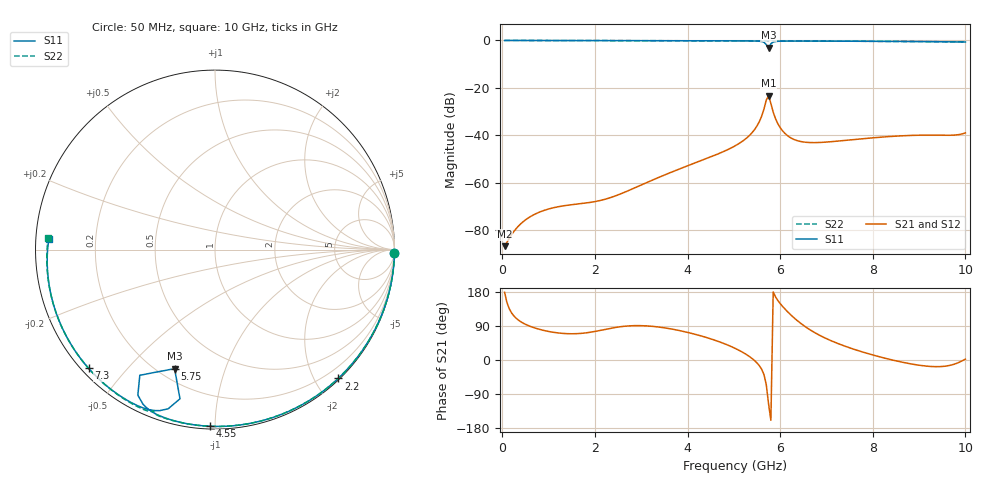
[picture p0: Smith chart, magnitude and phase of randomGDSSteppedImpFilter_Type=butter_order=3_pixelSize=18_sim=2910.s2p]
! freq	dB(S11)	phase(S11)	dB(S12)	phase(S12)
!  dB(S21)	phase(S21)	dB(S22)	phase(S22)
!S-par simulation data
#  GHz  S  DB  R 50
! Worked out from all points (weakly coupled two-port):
!   200 points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, 50 MHz to 10 GHz, reference 50 ohm
!   highest |S21| = -23.31 dB at 5.75 GHz (marker M1); lowest = -86.7 dB at 50 MHz (marker M2)
!   lowest |S11| = -3.1 dB at 5.75 GHz (marker M3), VSWR 5.67, Z = 13.1 - j34.2 ohm
!   |S11| at or under -10 dB: nowhere
!   |S22| runs from -0.6 to 0.0 dB; largest |S21 - S12| = 0
!   S11 on the Smith chart (normalised r, x): 50 MHz: open; 2.2 GHz: 0.02, -2.34; 4.55 GHz: 0.01, -0.97; 5.75 GHz: 0.26, -0.68; 7.3 GHz: 0.02, -0.40; 10 GHz: 0.04, +0.03
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0.05  -0.00 -1.1  -86.69 178.6  -86.69 178.6  -0.00 -1.1
0.25  -0.00 -5.4  -80.50 116.3  -80.50 116.3  -0.00 -5.3
0.55  -0.01 -11.8  -74.93 91.4  -74.93 91.4  -0.01 -11.6
0.9  -0.02 -19.3  -71.62 77.9  -71.62 77.9  -0.02 -18.9
1.75  -0.05 -37.1  -68.64 70.8  -68.64 70.8  -0.05 -36.4
2.2  -0.06 -46.3  -67.02 80.2  -67.02 80.2  -0.06 -45.4
3.4  -0.09 -69.9  -57.53 86.6  -57.53 86.6  -0.09 -68.8
4.55  -0.13 -91.5  -48.68 53.9  -48.68 53.9  -0.13 -89.9
5.05  -0.16 -100.9  -44.16 29.4  -44.16 29.4  -0.15 -98.8
5.5  -0.26 -111.0  -36.02 -7.7  -36.02 -7.7  -0.18 -106.8
5.6  -0.44 -114.9  -31.94 -24.3  -31.94 -24.3  -0.19 -108.7
5.7  -1.77 -120.9  -25.15 -64.9  -25.15 -64.9  -0.28 -110.7
5.75  -3.09 -108.7  -23.31 -116.0  -23.31 -116.0  -0.36 -110.9
5.8  -1.37 -103.2  -26.59 -159.1  -26.59 -159.1  -0.28 -111.2
5.85  -0.68 -106.4  -30.21 179.5  -30.21 179.5  -0.24 -112.2
5.95  -0.36 -110.9  -35.08 157.1  -35.08 157.1  -0.22 -114.0
6.1  -0.27 -115.1  -39.11 134.9  -39.11 134.9  -0.22 -116.7
6.35  -0.25 -120.2  -42.10 106.0  -42.10 106.0  -0.23 -121.0
6.7  -0.26 -126.6  -43.05 75.5  -43.05 75.5  -0.25 -126.9
7.3  -0.30 -136.8  -42.32 41.0  -42.32 41.0  -0.30 -137.0
8.35  -0.40 -154.2  -40.50 2.1  -40.50 2.1  -0.39 -154.7
10  -0.65 176.5  -38.94 2.2  -38.94 2.2  -0.61 175.9
